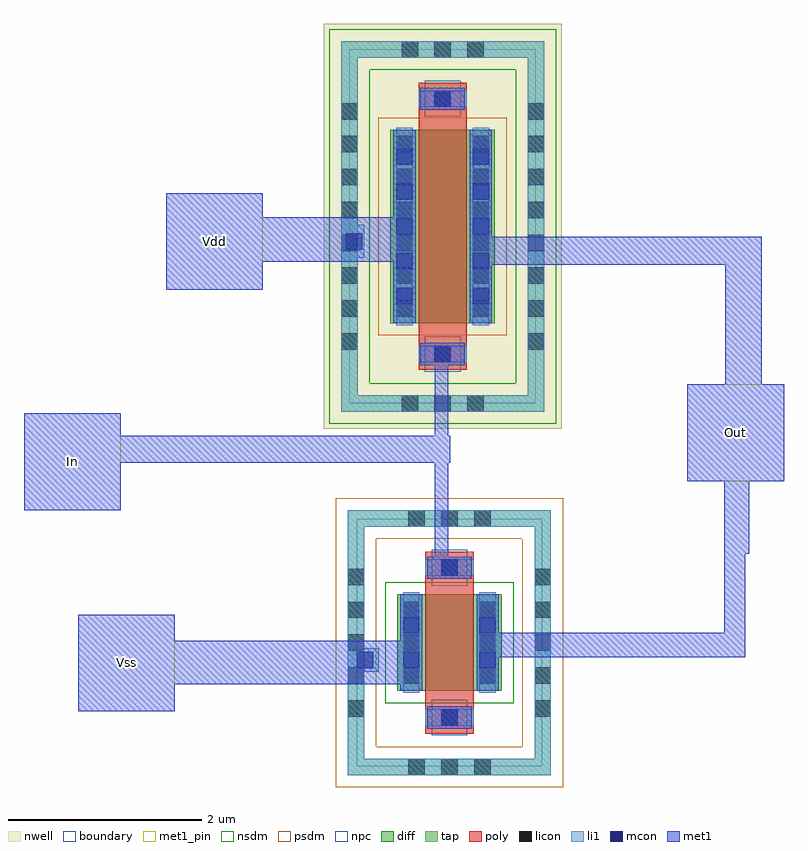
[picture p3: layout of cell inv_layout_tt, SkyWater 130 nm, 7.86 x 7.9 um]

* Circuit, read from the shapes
.subckt inv_layout_tt In Out Vdd Vss
XM1 Out In Vss Vss sky130_fd_pr__nfet_01v8 w=1 l=0.5
XM2 Out In Vdd Vdd sky130_fd_pr__pfet_01v8 w=2 l=0.5
.ends

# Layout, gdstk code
import gdstk
lib = gdstk.Library(unit=1e-6, precision=1e-09)
def R(c, l, rs):  # rectangles x0, y0, x1, y1
    for r in rs: c.add(gdstk.rectangle(r[:2], r[2:], *l))
def A(c, l, x, y, w, h, nx, ny, dx, dy):  # array of equal rectangles
    R(c, l, [(x+i*dx, y+j*dy, x+i*dx+w, y+j*dy+h) for i in range(nx) for j in range(ny)])
nwell = (64, 20)
diff = (65, 20)
tap = (65, 44)
poly = (66, 20)
licon = (66, 44)
li1 = (67, 20)
mcon = (67, 44)
met1_pin = (68, 16)
met1 = (68, 20)
nsdm = (93, 44)
psdm = (94, 20)
npc = (95, 20)
boundary = (235, 4)

sky130_fd_pr__pfet_01v8_ = lib.new_cell('sky130_fd_pr__pfet_01v8_XPB8Y6')
R(sky130_fd_pr__pfet_01v8_, nwell, [(-1.23,-2.095,1.23,2.095)])
R(sky130_fd_pr__pfet_01v8_, diff, [(-0.54,-1,0.54,1)])
R(sky130_fd_pr__pfet_01v8_, tap, [(-1.05,-1.915,1.05,-1.745), (-1.05,-1.745,-0.88,1.745), (0.88,-1.745,1.05,1.745), (-1.05,1.745,1.05,1.915)])
R(sky130_fd_pr__pfet_01v8_, poly, [(-0.25,-1.485,0.25,1.485)])
A(sky130_fd_pr__pfet_01v8_, licon, -0.425, -1.915, 0.17, 0.17, 3, 2, 0.34, 3.66)
A(sky130_fd_pr__pfet_01v8_, licon, -1.05, -1.275, 0.17, 0.17, 1, 8, 0, 0.34)
A(sky130_fd_pr__pfet_01v8_, licon, 0.88, -1.275, 0.17, 0.17, 1, 8, 0, 0.34)
A(sky130_fd_pr__pfet_01v8_, licon, -0.48, -0.935, 0.17, 0.17, 1, 6, 0, 0.34)
A(sky130_fd_pr__pfet_01v8_, licon, 0.31, -0.935, 0.17, 0.17, 1, 6, 0, 0.34)
R(sky130_fd_pr__pfet_01v8_, licon, [(-0.085,-1.405,0.085,-1.235), (-0.085,1.235,0.085,1.405)])
R(sky130_fd_pr__pfet_01v8_, li1, [(-1.05,-1.915,1.05,-1.745), (-1.05,-1.745,-0.88,1.745), (0.88,-1.745,1.05,1.745), (-0.25,-1.405,0.25,-1.235), (-0.48,-1.02,-0.31,1.02), (0.31,-1.02,0.48,1.02), (-0.25,1.235,0.25,1.405), (-1.05,1.745,1.05,1.915)])
A(sky130_fd_pr__pfet_01v8_, mcon, -0.48, -0.805, 0.17, 0.17, 1, 5, 0, 0.36)
A(sky130_fd_pr__pfet_01v8_, mcon, 0.31, -0.805, 0.17, 0.17, 1, 5, 0, 0.36)
R(sky130_fd_pr__pfet_01v8_, mcon, [(-0.085,-1.405,0.085,-1.235), (-0.085,1.235,0.085,1.405)])
R(sky130_fd_pr__pfet_01v8_, met1, [(-0.23,-1.435,0.23,-1.205), (-0.51,-1,-0.28,1), (0.28,-1,0.51,1), (-0.23,1.205,0.23,1.435)])
R(sky130_fd_pr__pfet_01v8_, nsdm, [(-1.175,-2.04,1.175,-1.62), (-1.175,-1.62,-0.755,1.62), (0.755,-1.62,1.175,1.62), (-1.175,1.62,1.175,2.04)])
R(sky130_fd_pr__pfet_01v8_, psdm, [(-0.665,-1.125,0.665,1.125)])
R(sky130_fd_pr__pfet_01v8_, npc, [(-0.185,-1.505,0.185,-1.135), (-0.185,1.135,0.185,1.505)])
R(sky130_fd_pr__pfet_01v8_, boundary, [(-0.965,-1.83,0.965,1.83)])

sky130_fd_pr__nfet_01v8_ = lib.new_cell('sky130_fd_pr__nfet_01v8_PVEW3M')
R(sky130_fd_pr__nfet_01v8_, diff, [(-0.54,-0.5,0.54,0.5)])
R(sky130_fd_pr__nfet_01v8_, tap, [(-1.05,-1.37,1.05,-1.2), (-1.05,-1.2,-0.88,1.2), (0.88,-1.2,1.05,1.2), (-1.05,1.2,1.05,1.37)])
R(sky130_fd_pr__nfet_01v8_, poly, [(-0.25,-0.94,0.25,0.94)])
A(sky130_fd_pr__nfet_01v8_, licon, -0.425, -1.37, 0.17, 0.17, 3, 2, 0.34, 2.57)
A(sky130_fd_pr__nfet_01v8_, licon, -1.05, -0.765, 0.17, 0.17, 1, 5, 0, 0.34)
A(sky130_fd_pr__nfet_01v8_, licon, 0.88, -0.765, 0.17, 0.17, 1, 5, 0, 0.34)
A(sky130_fd_pr__nfet_01v8_, licon, -0.48, -0.425, 0.17, 0.17, 1, 3, 0, 0.34)
A(sky130_fd_pr__nfet_01v8_, licon, 0.31, -0.425, 0.17, 0.17, 1, 3, 0, 0.34)
R(sky130_fd_pr__nfet_01v8_, licon, [(-0.085,-0.86,0.085,-0.69), (-0.085,0.69,0.085,0.86)])
R(sky130_fd_pr__nfet_01v8_, li1, [(-1.05,-1.37,1.05,-1.2), (-1.05,-1.2,-0.88,1.2), (0.88,-1.2,1.05,1.2), (-0.25,-0.86,0.25,-0.69), (-0.48,-0.52,-0.31,0.52), (0.31,-0.52,0.48,0.52), (-0.25,0.69,0.25,0.86), (-1.05,1.2,1.05,1.37)])
R(sky130_fd_pr__nfet_01v8_, mcon, [(-0.085,-0.86,0.085,-0.69), (-0.48,-0.265,-0.31,-0.095), (0.31,-0.265,0.48,-0.095), (-0.48,0.095,-0.31,0.265), (0.31,0.095,0.48,0.265), (-0.085,0.69,0.085,0.86)])
R(sky130_fd_pr__nfet_01v8_, met1, [(-0.23,-0.89,0.23,-0.66), (-0.51,-0.5,-0.28,0.5), (0.28,-0.5,0.51,0.5), (-0.23,0.66,0.23,0.89)])
R(sky130_fd_pr__nfet_01v8_, nsdm, [(-0.665,-0.625,0.665,0.625)])
R(sky130_fd_pr__nfet_01v8_, psdm, [(-1.175,-1.495,1.175,-1.075), (-1.175,-1.075,-0.755,1.075), (0.755,-1.075,1.175,1.075), (-1.175,1.075,1.175,1.495)])
R(sky130_fd_pr__nfet_01v8_, npc, [(-0.185,-0.96,0.185,-0.59), (-0.185,0.59,0.185,0.96)])
R(sky130_fd_pr__nfet_01v8_, boundary, [(-0.96,-1.28,0.96,1.28)])

inv_layout_tt = lib.new_cell('inv_layout_tt')
R(inv_layout_tt, li1, [(-1.98,-7.65,-1.69,-7.41), (-2.05,-3.37,-1.84,-3.03)])
R(inv_layout_tt, mcon, [(-1.92,-7.615,-1.75,-7.445), (-2.03,-3.285,-1.86,-3.115)])
R(inv_layout_tt, met1_pin, [(-4.8,-8.06,-3.8,-7.06), (-5.36,-5.98,-4.36,-4.98), (1.5,-5.68,2.5,-4.68), (-3.89,-3.7,-2.89,-2.7)])
R(inv_layout_tt, met1, [(-4.8,-8.06,-3.8,-7.78), (-4.8,-7.78,-1.32,-7.33), (-0.53,-7.5,2.1,-7.25), (-4.8,-7.33,-3.8,-7.06), (1.88,-7.25,2.1,-6.43), (-1.11,-6.64,-0.97,-5.49), (1.88,-6.43,2.14,-5.68), (-5.36,-5.98,-4.36,-5.49), (1.5,-5.68,2.5,-4.68), (-5.36,-5.49,-0.95,-5.21), (-5.36,-5.21,-4.36,-4.98), (-1.11,-5.21,-0.97,-4.34), (1.89,-4.68,2.27,-3.44), (-3.89,-3.7,-2.89,-3.41), (-0.63,-3.44,2.27,-3.15), (-3.89,-3.41,-1.4,-3.03), (-3.89,-3.03,-1.46,-2.95), (-3.89,-2.95,-2.89,-2.7)])
inv_layout_tt.add(gdstk.Reference(sky130_fd_pr__pfet_01v8_, (-1.03,-3.045)))
inv_layout_tt.add(gdstk.Reference(sky130_fd_pr__nfet_01v8_, (-0.96,-7.35)))
inv_layout_tt.add(gdstk.Label('Vss', (-4.3,-7.56), layer=68, texttype=5))
inv_layout_tt.add(gdstk.Label('Vdd', (-3.39,-3.2), layer=68, texttype=5))
inv_layout_tt.add(gdstk.Label('Out', (2,-5.18), layer=68, texttype=5))
inv_layout_tt.add(gdstk.Label('In', (-4.86,-5.48), layer=68, texttype=5))

lib.write_gds('inv_layout_tt.gds')
